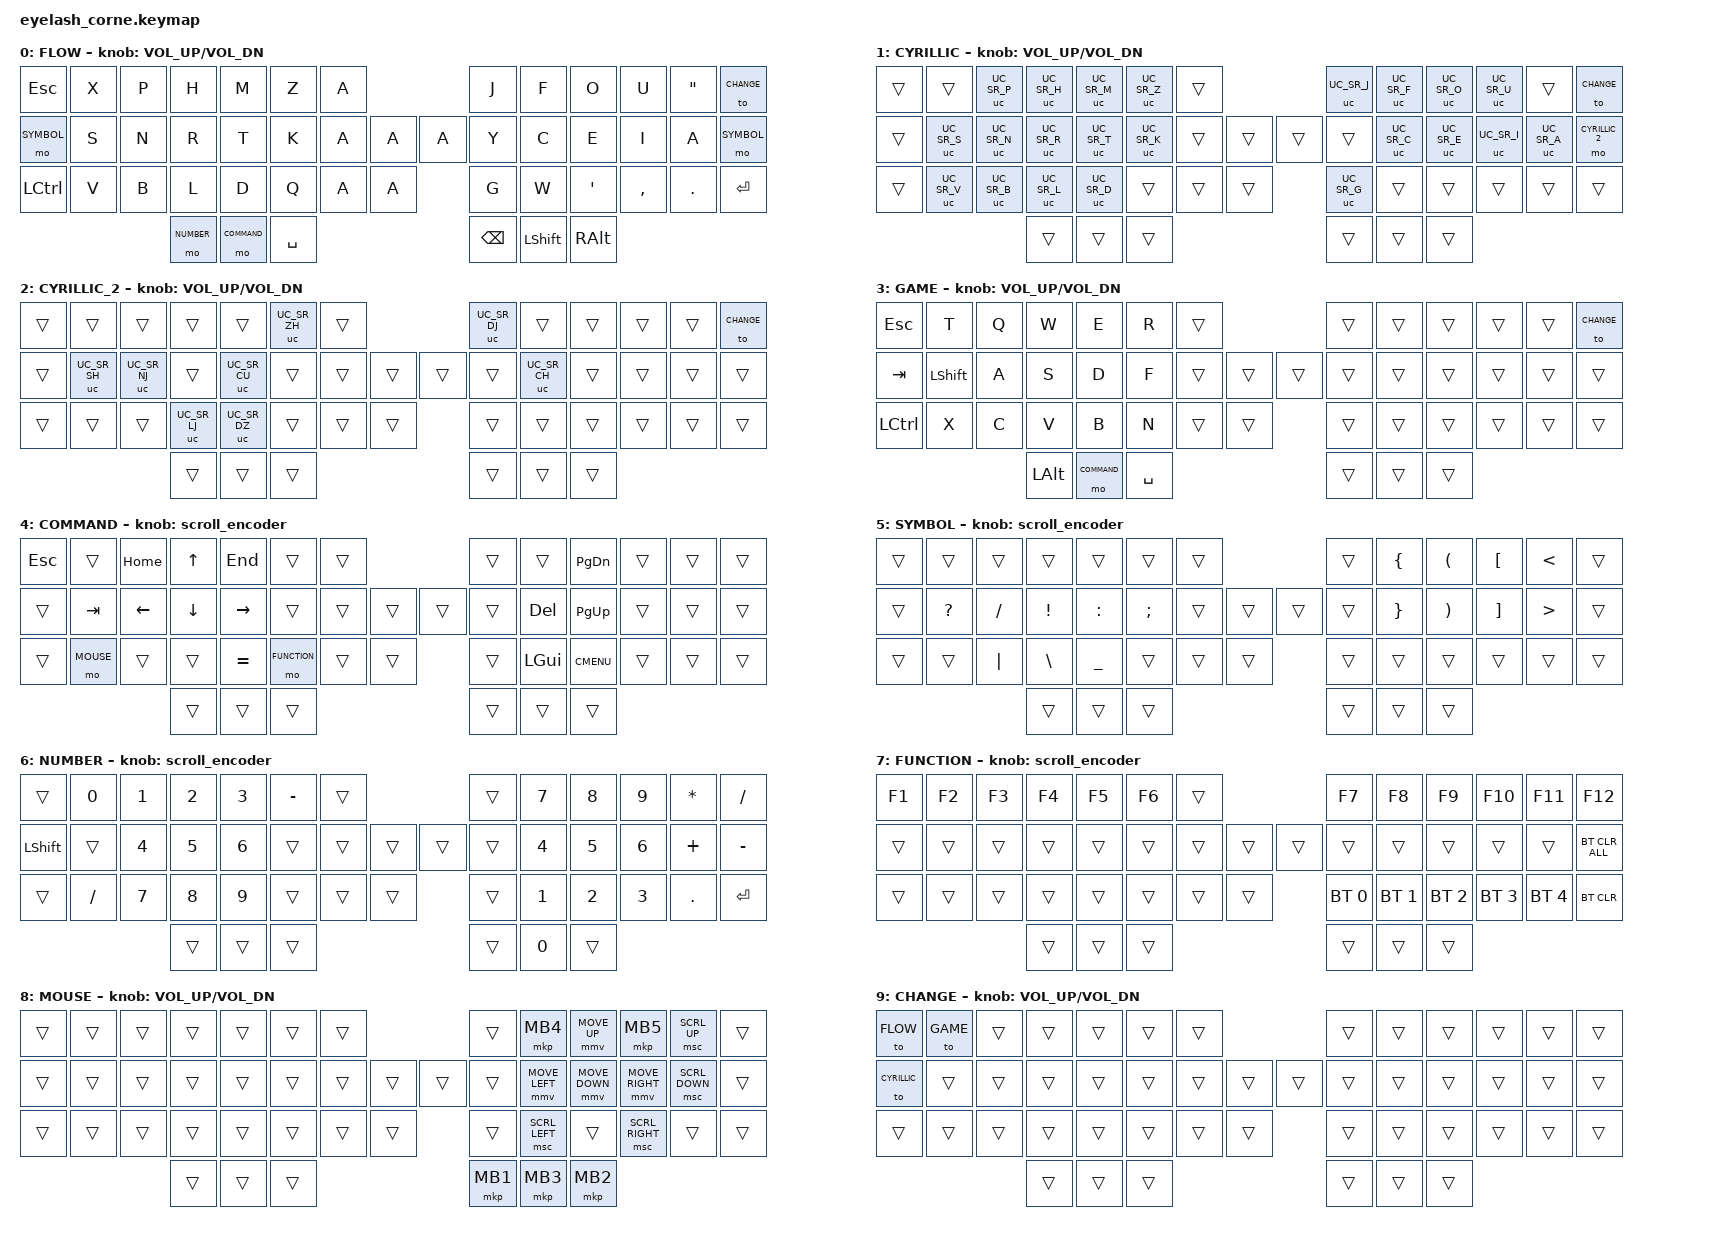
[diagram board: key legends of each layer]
#define ZMK_POINTING_DEFAULT_MOVE_VAL 1200  // 600
#define ZMK_POINTING_DEFAULT_SCRL_VAL 25   // 10
#define FLOW 		0
#define CYRILLIC	1
#define CYRILLIC_2	2
#define GAME		3
#define COMMAND   	4
#define SYMBOL   	5
#define NUMBER   	6
#define FUNCTION   	7
#define MOUSE   	8
#define CHANGE   	9


#include <input/processors.dtsi>
#include <zephyr/dt-bindings/input/input-event-codes.h>
#include <behaviors.dtsi>
#include <dt-bindings/zmk/bt.h>
#include <dt-bindings/zmk/keys.h>
#include <dt-bindings/zmk/outputs.h>
#include <dt-bindings/zmk/pointing.h>
#include <dt-bindings/zmk/rgb.h>
#include <behaviors/unicode.dtsi>
#include <zmk-unicode/keys-extra.h>

&mmv_input_listener { input-processors = <&zip_xy_scaler 2 1>; };

&msc_input_listener { input-processors = <&zip_scroll_scaler 2 1>; };

&msc {
    acceleration-exponent = <1>;      // 0
    time-to-max-speed-ms = <100>;       // 300
    delay-ms = <0>;                   // 0
};

&mmv {
    time-to-max-speed-ms = <500>;
    acceleration-exponent = <1>;
    trigger-period-ms = <16>;
};

&uc {
  default-mode = <UC_MODE_WIN_ALT>;  // Replace with desired input system.
};

&soft_off { hold-time-ms = <2000>; };

/ {
    behaviors {
        td0: td0 {
            compatible = "zmk,behavior-tap-dance";
            display-name = "Shift/Caps Lock Tap Dance";
            #binding-cells = <0>;
            bindings = <&kp LEFT_SHIFT>, <&kp CAPS>;
        };
    };

    rgb_encoder: rgb_encoder {
        compatible = "zmk,behavior-sensor-rotate";
        #sensor-binding-cells = <0>;
        bindings = <&rgb_ug RGB_BRI>, <&rgb_ug RGB_BRD>;
    };

    scroll_encoder: scroll_encoder {
        compatible = "zmk,behavior-sensor-rotate";
        #sensor-binding-cells = <0>;
        bindings = <&msc SCRL_DOWN>, <&msc SCRL_UP>;

        tap-ms = <100>;
    };

    combos {
        compatible = "zmk,combos";

        softoff {
            bindings = <&soft_off>;
            key-positions = <1 15 29>;
        };
    };

    keymap {
        compatible = "zmk,keymap";

		/*trans {
            display-name = "TRANS";
            bindings = <
            //L1		L2		L3		L4			L5		L6				UNAVAILABLE				R1			R2			R3			R4			R5				R6
            &trans		&trans	&trans	&trans		&trans	&trans			&trans					&trans		&trans		&trans		&trans		&trans			&trans
            &trans		&trans	&trans	&trans		&trans	&trans			&trans  &trans  &trans	&trans		&trans		&trans		&trans		&trans			&trans
            &trans		&trans	&trans	&trans		&trans	&trans			&trans  &trans			&trans		&trans		&trans		&trans		&trans			&trans
										&trans		&trans	&trans									&trans		&trans		&trans
            >;

            sensor-bindings = <&inc_dec_kp C_VOLUME_UP C_VOL_DN>;
        };*/

        default_layer {
            display-name = "FLOW";
            bindings = <
            //L1		L2		L3		L4			L5			L6				UNAVAILABLE				R1			R2			R3			R4			R5				R6
            &kp ESC		&kp X	&kp P	&kp H		&kp M		&kp Z			&kp A					&kp J		&kp F		&kp O		&kp U		&kp DQT			&to CHANGE
            &mo SYMBOL	&kp S	&kp N	&kp R		&kp T		&kp K			&kp A  &kp A  &kp A		&kp Y		&kp C		&kp E		&kp I		&kp A			&mo SYMBOL
            &kp LCTRL	&kp V	&kp B	&kp L		&kp D		&kp Q			&kp A  &kp A			&kp G		&kp W		&kp SQT		&kp COMMA	&kp DOT			&kp ENTER
										&mo NUMBER	&mo COMMAND	&kp SPACE								&kp BSPC	&kp LSHIFT	&kp RALT
            >;

            sensor-bindings = <&inc_dec_kp C_VOLUME_UP C_VOL_DN>;
        };

		cyrillic_layer {
            display-name = "CYRILLIC";
            bindings = <
            //L1			L2			L3			L4			L5			L6				UNAVAILABLE				R1			R2			R3			R4			R5				R6
       	 	&trans			&trans		&uc UC_SR_P	&uc UC_SR_H	&uc UC_SR_M	&uc UC_SR_Z		&trans					&uc UC_SR_J	&uc UC_SR_F	&uc UC_SR_O	&uc UC_SR_U	&trans			&to CHANGE
            &trans			&uc UC_SR_S	&uc UC_SR_N	&uc UC_SR_R	&uc UC_SR_T	&uc UC_SR_K		&trans  &trans  &trans	&trans		&uc UC_SR_C	&uc UC_SR_E	&uc UC_SR_I	&uc UC_SR_A		&mo	CYRILLIC_2
            &trans			&uc UC_SR_V	&uc UC_SR_B	&uc UC_SR_L	&uc UC_SR_D	&trans			&trans  &trans			&uc UC_SR_G	&trans		&trans		&trans		&trans			&trans
													&trans		&trans		&trans									&trans		&trans		&trans
            >;

            sensor-bindings = <&inc_dec_kp C_VOLUME_UP C_VOL_DN>;
        };

		cyrillic_layer_2 {
            display-name = "CYRILLIC_2";
            bindings = <
            //L1		L2				L3				L4				L5				L6				UNAVAILABLE				R1				R2				R3			R4			R5		R6
       	 	&trans		&trans			&trans			&trans			&trans			&uc UC_SR_ZH	&trans					&uc UC_SR_DJ	&trans			&trans		&trans		&trans	&to CHANGE
            &trans		&uc UC_SR_SH	&uc UC_SR_NJ	&trans			&uc UC_SR_CU	&trans			&trans  &trans  &trans	&trans			&uc UC_SR_CH	&trans		&trans		&trans	&trans
            &trans		&trans			&trans			&uc UC_SR_LJ	&uc UC_SR_DZ	&trans			&trans  &trans			&trans			&trans			&trans		&trans		&trans	&trans
														&trans			&trans			&trans									&trans			&trans			&trans
            >;

            sensor-bindings = <&inc_dec_kp C_VOLUME_UP C_VOL_DN>;
        };

		game_layer {
            display-name = "GAME";
            bindings = <
            //L1		L2			L3		L4			L5			L6				UNAVAILABLE				R1			R2			R3			R4			R5				R6
            &kp ESC		&kp T		&kp Q	&kp W		&kp E		&kp R			&trans					&trans		&trans		&trans		&trans		&trans			&to CHANGE
            &kp TAB		&kp LSHIFT	&kp A	&kp S		&kp D		&kp F			&trans  &trans  &trans	&trans		&trans		&trans		&trans		&trans			&trans
            &kp LCTRL	&kp X		&kp C	&kp V		&kp B		&kp N			&trans  &trans			&trans		&trans		&trans		&trans		&trans			&trans
											&kp LALT	&mo COMMAND	&kp SPACE								&trans		&trans		&trans
            >;

            sensor-bindings = <&inc_dec_kp C_VOLUME_UP C_VOL_DN>;
        };

		command_layer {
            display-name = "COMMAND";
            bindings = <
            //L1		L2			vL3			L4			L5			L6				UNAVAILABLE				R1				R2				R3				R4				R5				R6
            &kp ESC		&trans		&kp HOME	&kp UP		&kp END		&trans			&trans					&trans			&trans			&kp PG_DN		&trans			&trans			&trans
            &trans		&kp TAB		&kp LEFT	&kp DOWN	&kp RIGHT	&trans			&trans  &trans  &trans	&trans			&kp DEL			&kp PG_UP		&trans			&trans			&trans
        	&trans		&mo MOUSE	&trans		&trans		&kp EQUAL	&mo FUNCTION	&trans  &trans			&trans			&kp LGUI		&kp K_CMENU		&trans			&trans			&trans
												&trans		&trans		&trans									&trans			&trans			&trans
            >;

            sensor-bindings = <&scroll_encoder>;
        };

        symbol_layer {
            display-name = "SYMBOL";
            bindings = <
            //L1		L2			L3			L4			L5			L6				UNAVAILABLE				R1			R2			R3			R4			R5				R6
            &trans		&trans		&trans		&trans		&trans		&trans			&trans					&trans		&kp LBRC	&kp LPAR	&kp LBKT	&kp LT			&trans
            &trans		&kp QMARK	&kp FSLH	&kp EXCL	&kp COLON	&kp SEMI		&trans  &trans  &trans	&trans		&kp RBRC	&kp RPAR	&kp RBKT	&kp GT			&trans
            &trans		&trans		&kp PIPE	&kp BSLH	&kp UNDER	&trans			&trans  &trans			&trans		&trans		&trans		&trans		&trans			&trans
												&trans		&trans		&trans									&trans		&trans		&trans
            >;

            sensor-bindings = <&scroll_encoder>;
        };

        number_layer {
            display-name = "NUMBER";
            bindings = <
            //L1		L2		L3		L4			L5		L6					UNAVAILABLE				R1			R2			R3			R4			R5				R6
            &trans		&kp N0		&kp N1	&kp N2		&kp N3	&kp MINUS		&trans					&trans		&kp N7		&kp N8		&kp N9		&kp STAR		&kp FSLH
            &kp LSHIFT	&trans		&kp N4	&kp N5 		&kp N6	&trans			&trans  &trans  &trans	&trans		&kp N4		&kp N5		&kp N6		&kp PLUS		&kp MINUS
            &trans		&kp FSLH	&kp N7	&kp N8		&kp N9	&trans			&trans  &trans			&trans		&kp N1		&kp N2		&kp N3		&kp DOT			&kp ENTER
											&trans		&trans	&trans									&trans		&kp N0		&trans
            >;

            sensor-bindings = <&scroll_encoder>;
        };

        f_layer {
            display-name = "FUNCTION";
            bindings = <
            //L1		L2		L3		L4			L5		L6				UNAVAILABLE				R1				R2				R3				R4				R5				R6
            &kp F1		&kp F2	&kp F3	&kp F4		&kp F5	&kp F6			&trans					&kp F7			&kp F8			&kp F9			&kp F10			&kp F11			&kp F12
            &trans		&trans	&trans	&trans		&trans	&trans			&trans  &trans  &trans	&trans			&trans			&trans			&trans			&trans			&bt BT_CLR_ALL
            &trans		&trans	&trans	&trans		&trans	&trans			&trans  &trans			&bt BT_SEL 0	&bt BT_SEL 1	&bt BT_SEL 2	&bt BT_SEL 3	&bt BT_SEL 4	&bt BT_CLR
										&trans		&trans	&trans									&trans			&trans			&trans
            >;

            sensor-bindings = <&scroll_encoder>;
        };

		mouse_layer {
            display-name = "MOUSE";
            bindings = <
            //L1		L2		L3		L4			L5		L6				UNAVAILABLE				R1			R2				R3				R4				R5				R6
            &trans		&trans	&trans	&trans		&trans	&trans			&trans					&trans		&mkp MB4		&mmv MOVE_UP	&mkp MB5		&msc SCRL_UP	&trans
            &trans		&trans	&trans	&trans		&trans	&trans			&trans  &trans  &trans	&trans		&mmv MOVE_LEFT	&mmv MOVE_DOWN	&mmv MOVE_RIGHT	&msc SCRL_DOWN	&trans
            &trans		&trans	&trans	&trans		&trans	&trans			&trans  &trans			&trans		&msc SCRL_LEFT	&trans			&msc SCRL_RIGHT	&trans			&trans
										&trans		&trans	&trans									&mkp MB1	&mkp MB3		&mkp MB2
            >;

            sensor-bindings = <&inc_dec_kp C_VOLUME_UP C_VOL_DN>;
        };

		change_layer {
            display-name = "CHANGE";
            bindings = <
            //L1		L2			L3		L4			L5		L6				UNAVAILABLE				R1			R2			R3			R4			R5				R6
            &to FLOW		&to GAME	&trans	&trans		&trans	&trans			&trans					&trans		&trans		&trans		&trans		&trans			&trans
            &to CYRILLIC	&trans		&trans	&trans		&trans	&trans			&trans  &trans  &trans	&trans		&trans		&trans		&trans		&trans			&trans
            &trans			&trans		&trans	&trans		&trans	&trans			&trans  &trans			&trans		&trans		&trans		&trans		&trans			&trans
												&trans		&trans	&trans									&trans		&trans		&trans
            >;

            sensor-bindings = <&inc_dec_kp C_VOLUME_UP C_VOL_DN>;
        };


    };
};
